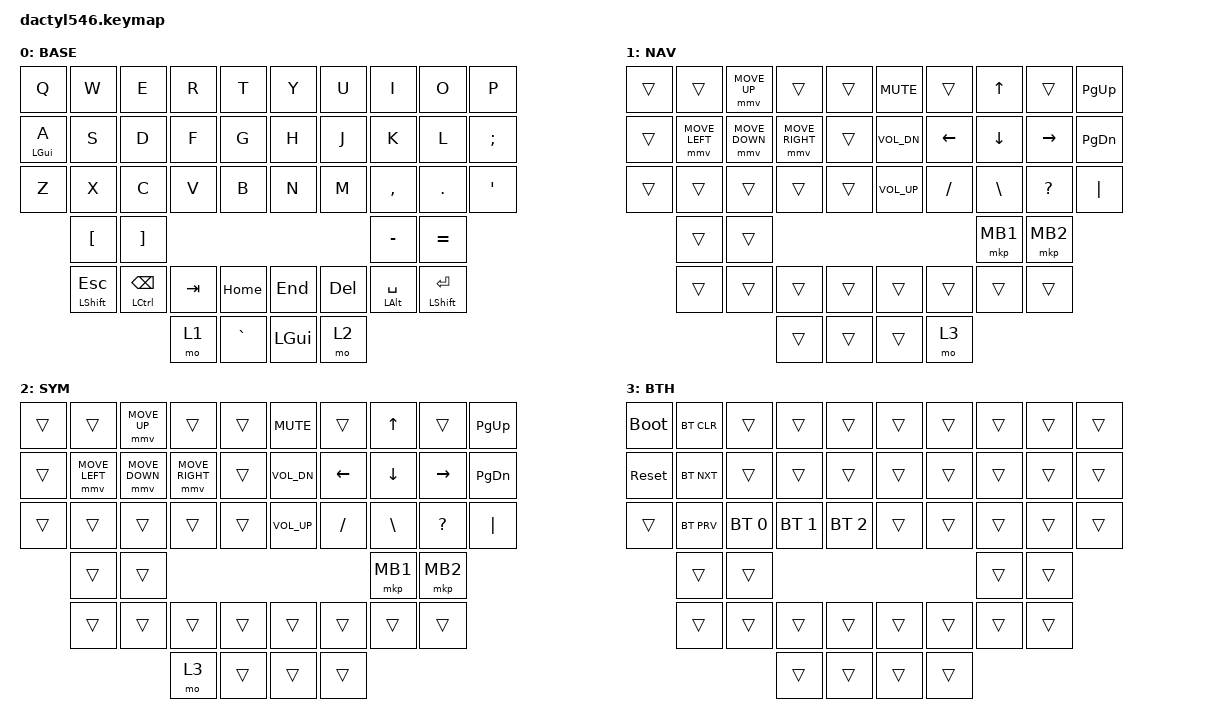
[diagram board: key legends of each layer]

#include <behaviors.dtsi>
#include <dt-bindings/zmk/keys.h>
#include <dt-bindings/zmk/bt.h>
#include <dt-bindings/zmk/outputs.h>
#include <dt-bindings/zmk/pointing.h>


#define BASE 0
#define NAV  1
#define SYM  2
#define BTH  3


&mmv {
    time-to-max-speed-ms = <200>;
    acceleration-exponent = <2>;
};

&msc {
    time-to-max-speed-ms = <200>;
    acceleration-exponent = <2>;
};

&mt {
  quick-tap-ms = <100>;
  global-quick-tap;
  flavor = "tap-preferred";
  tapping-term-ms = <200>;
};

/ {
     combos {
            compatible = "zmk,combos";
            combo_esc {
                timeout-ms = <50>;
                key-positions = <0 1>;
                bindings = <&kp ESC>;
            };

        keymap {
                compatible = "zmk,keymap";

                base_layer {
label= "BASE";
//   +--------------+--------------+--------------+--------------+--------------+  +--------------+--------------+--------------+--------------+--------------+
//   |      Q       |      W       |       E      |       R      |       T      |  |      Y       |      U       |      I       |      O       |      P       |
//   +--------------+--------------+--------------+--------------+--------------+  +--------------+--------------+--------------+--------------+--------------+
//   |      A       |      S       |       D      |       F      |       G      |  |      H       |      J       |      K       |      L       |      ;       |
//   +--------------+--------------+--------------+--------------+--------------+  +--------------+--------------+--------------+--------------+--------------+
//   |      Z       |      X       |       C      |       V      |       B      |  |      N       |      M       |      ,       |      .       |      '       |
//   +--------------+--------------+--------------+--------------+--------------+  +--------------+--------------+--------------+--------------+--------------+
//                  |      [       |       ]      |                                                              |      -       |      =       |
//                  +--------------+--------------+                                                              +--------------+--------------+
//
//                  +--------------+--------------+--------------+--------------+  +--------------+--------------+--------------+--------------+
//                  |     ESC      |      BSP     |      TAB     |     HOME     |  |     END      |     DEL      |     SPC      |    ENTER     |
//                  +--------------+--------------+--------------+--------------+  +--------------+--------------+--------------+--------------+
//                                                |      NAV     |      `       |  |    LGUI      |     SYM      |
//                                                +--------------+--------------+  +--------------+--------------+

 bindings = <
//   |              |              |              |              |              |  |              |              |              |              |              |
      &kp Q          &kp W          &kp E          &kp R          &kp T             &kp Y          &kp U          &kp I          &kp O          &kp P
      &mt LGUI A     &kp S          &kp D          &kp F          &kp G             &kp H          &kp J          &kp K          &kp L          &kp SEMI
      &kp Z          &kp X          &kp C          &kp V          &kp B             &kp N          &kp M          &kp COMMA      &kp DOT        &kp APOS
                     &kp LBKT       &kp RBKT                                                                      &kp MINUS      &kp EQUAL

                     &mt LSHIFT ESC &mt LCTRL BSPC &kp TAB        &kp HOME          &kp END        &kp DEL        &mt LALT SPACE &mt LSHIFT ENTER
                                                   &mo 1          &kp GRAVE         &kp LGUI       &mo 2
                        >;
                };



                nav_layer {
label= "NAV";
//   +--------------+--------------+--------------+--------------+--------------+  +--------------+--------------+--------------+--------------+--------------+
//   |              |              |  MOUSE UP    |              |              |  |    MUTE      |              |     UP       |              |    PG UP     |
//   +--------------+--------------+--------------+--------------+--------------+  +--------------+--------------+--------------+--------------+--------------+
//   |              |  MOUSE LEFT  |  MOUSE DN    |  MOUSE RIGHT |              |  |  VOL UP      |    LEFT      |    DOWN      |   RIGHT      |    PG DN     |
//   +--------------+--------------+--------------+--------------+--------------+  +--------------+--------------+--------------+--------------+--------------+
//   |              |              |              |              |              |  |  VOL DN      |      /       |      \       |      ?       |      |       |
//   +--------------+--------------+--------------+--------------+--------------+  +--------------+--------------+--------------+--------------+--------------+
//                  |              |              |                                                              |  MOUSE 1     |  MOUSE 2     |
//                  +--------------+--------------+                                                              +--------------+--------------+
//
//                  +--------------+--------------+--------------+--------------+  +--------------+--------------+--------------+--------------+
//                  |              |              |              |              |  |              |              |              |              |
//                  +--------------+--------------+--------------+--------------+  +--------------+--------------+--------------+--------------+
//                                                |              |              |  |              |              |
//                                                +--------------+--------------+  +--------------+--------------+
 bindings = <
//   |              |              |              |              |              |  |              |              |              |              |              |
      &trans         &trans         &mmv MOVE_UP   &trans         &trans            &kp C_MUTE     &trans         &kp UP         &trans         &kp PG_UP
      &trans         &mmv MOVE_LEFT &mmv MOVE_DOWN &mmv MOVE_RIGHT &trans           &kp C_VOL_DN   &kp LEFT       &kp DOWN       &kp RIGHT      &kp PG_DN
      &trans         &trans         &trans         &trans         &trans            &kp C_VOL_UP   &kp FSLH       &kp BSLH       &kp QMARK      &kp PIPE
                     &trans         &trans                                                                        &mkp MB1       &mkp MB2

                     &trans         &trans         &trans         &trans            &trans         &trans         &trans         &trans
                                                   &trans         &trans            &trans         &mo 3
                        >;
                };


                sim_layer {
label= "SYM";
//   +--------------+--------------+--------------+--------------+--------------+  +--------------+--------------+--------------+--------------+--------------+
//   |     F1       |      F2      |      F3      |      F4      |     F5       |  |     F6       |     F7       |      F8      |     F9       |     F10      |
//   +--------------+--------------+--------------+--------------+--------------+  +--------------+--------------+--------------+--------------+--------------+
//   |      1       |       2      |       3      |       4      |      5       |  |      6       |      7       |       8      |      9       |      0       |
//   +--------------+--------------+--------------+--------------+--------------+  +--------------+--------------+--------------+--------------+--------------+
//   |      !       |       @      |       #      |       $      |      %       |  |      ^       |      &       |       *      |      (       |      )       |
//   +--------------+--------------+--------------+--------------+--------------+  +--------------+--------------+--------------+--------------+--------------+
//                  |      F11     |      F12     |                                                              |              |              |
//                  +--------------+--------------+                                                              +--------------+--------------+
//
//                  +--------------+--------------+--------------+--------------+  +--------------+--------------+--------------+--------------+
//                  |              |              |              |              |  |              |              |              |              |
//                  +--------------+--------------+--------------+--------------+  +--------------+--------------+--------------+--------------+
//                                                |              |              |  |              |              |
//                                                +--------------+--------------+  +--------------+--------------+
 bindings = <
//   |              |              |              |              |              |  |              |              |              |              |              |
      &trans         &trans         &mmv MOVE_UP   &trans         &trans            &kp C_MUTE     &trans         &kp UP         &trans         &kp PG_UP
      &trans         &mmv MOVE_LEFT &mmv MOVE_DOWN &mmv MOVE_RIGHT &trans           &kp C_VOL_DN   &kp LEFT       &kp DOWN       &kp RIGHT      &kp PG_DN
      &trans         &trans         &trans         &trans         &trans            &kp C_VOL_UP   &kp FSLH       &kp BSLH       &kp QMARK      &kp PIPE
                     &trans         &trans                                                                        &mkp MB1       &mkp MB2

                     &trans         &trans         &trans         &trans            &trans         &trans         &trans         &trans
                                                   &mo 3          &trans            &trans         &trans
                        >;
                };


                adjust_layer {
label= "BTH"                               ;
//   +--------------+--------------+--------------+--------------+--------------+  +--------------+--------------+--------------+--------------+--------------+
//   | BOOTLOAD     |  BT CLEAR    |              |              |              |  |              |              |              |              |              |
//   +--------------+--------------+--------------+--------------+--------------+  +--------------+--------------+--------------+--------------+--------------+
//   | RESET        |  BT NEXT     |              |              |              |  |              |              |              |              |              |
//   +--------------+--------------+--------------+--------------+--------------+  +--------------+--------------+--------------+--------------+--------------+
//   |              |  BT PREV     |     BT 1     |     BT 2     |     BT 3     |  |              |              |              |              |              |
//   +--------------+--------------+--------------+--------------+--------------+  +--------------+--------------+--------------+--------------+--------------+
//                  |              |              |                                                              |              |              |
//                  +--------------+--------------+                                                              +--------------+--------------+
//
//                  +--------------+--------------+--------------+--------------+  +--------------+--------------+--------------+--------------+
//                  |              |              |              |              |  |              |              |              |              |
//                  +--------------+--------------+--------------+--------------+  +--------------+--------------+--------------+--------------+
//                                                |              |              |  |              |              |
//                                                +--------------+--------------+  +--------------+--------------+
 bindings = <
//   |              |              |              |              |              |  |              |              |              |              |              |
      &bootloader    &bt BT_CLR     &trans         &trans         &trans            &trans         &trans         &trans         &trans         &trans
      &sys_reset     &bt BT_NXT     &trans         &trans         &trans            &trans         &trans         &trans         &trans         &trans
      &trans         &bt BT_PRV     &bt BT_SEL 0   &bt BT_SEL 1   &bt BT_SEL 2      &trans         &trans         &trans         &trans         &trans
                     &trans         &trans                                                                        &trans         &trans

                     &trans         &trans         &trans         &trans            &trans         &trans         &trans         &trans
                                                   &trans         &trans            &trans         &trans
                        >;
                };

        };
};

//   +--------------+--------------+--------------+--------------+--------------+  +--------------+--------------+--------------+--------------+--------------+
//   |              |              |              |              |              |  |              |              |              |              |              |
//   +--------------+--------------+--------------+--------------+--------------+  +--------------+--------------+--------------+--------------+--------------+
//   |              |              |              |              |              |  |              |              |              |              |              |
//   +--------------+--------------+--------------+--------------+--------------+  +--------------+--------------+--------------+--------------+--------------+
//   |              |              |              |              |              |  |              |              |              |              |              |
//   +--------------+--------------+--------------+--------------+--------------+  +--------------+--------------+--------------+--------------+--------------+
//                  |              |              |                                                              |              |              |
//                  +--------------+--------------+                                                              +--------------+--------------+
//
//                  +--------------+--------------+--------------+--------------+  +--------------+--------------+--------------+--------------+
//                  |              |              |              |              |  |              |              |              |              |
//                  +--------------+--------------+--------------+--------------+  +--------------+--------------+--------------+--------------+
//                                                |              |              |  |              |              |
//                                                +--------------+--------------+  +--------------+--------------+
